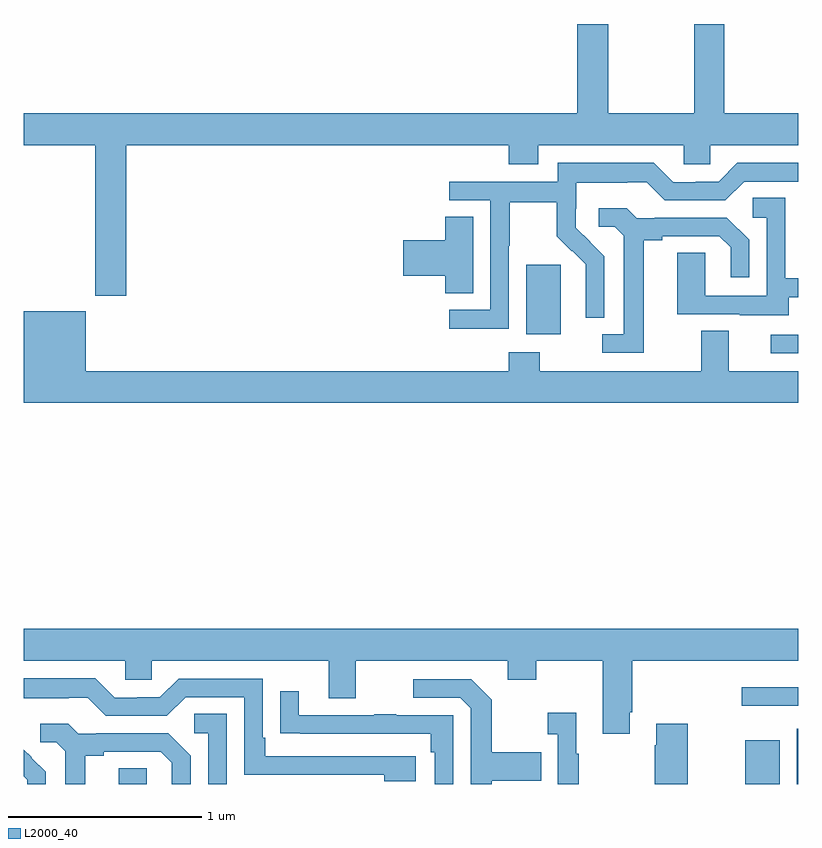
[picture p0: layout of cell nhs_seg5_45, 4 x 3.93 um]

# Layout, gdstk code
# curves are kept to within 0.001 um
import gdstk
lib = gdstk.Library(unit=1e-6, precision=1e-09)
def R(c, l, rs):  # rectangles x0, y0, x1, y1
    for r in rs: c.add(gdstk.rectangle(r[:2], r[2:], *l))
def P(c, l, *ps):  # polygons
    for p in ps: c.add(gdstk.Polygon(p, *l))
L2000_40 = (2000, 40)

nhs_seg5_45 = lib.new_cell('nhs_seg5_45')
R(nhs_seg5_45, L2000_40, [(113.489,846.799,113.634,846.881), (116.726,846.799,116.905,847.024), (116.993,846.799,117,847.084), (116.709,847.203,117,847.3), (116.859,849.024,117,849.12), (115.595,849.122,115.774,849.483)])
P(nhs_seg5_45, L2000_40, [(113.528,850.1),(115.505,850.1),(115.505,850.001),(115.657,850.001),(115.657,850.1),(116.409,850.1),(116.409,850.002),(116.547,850.002),(116.547,850.1),(117,850.1),(117,850.264),(116.619,850.264),(116.619,850.726),(116.464,850.726),(116.464,850.264),(116.019,850.264),(116.019,850.726),(115.859,850.726),(115.859,850.264),(113,850.264),(113,850.1),(113.368,850.1),(113.368,849.321),(113.528,849.321)],
  [(115.506,849.58),(115.509,849.58),(115.509,849.804),(115.753,849.804),(115.753,849.629),(115.83,849.552),(115.833,849.555),(115.904,849.485),(115.904,849.362),(115.902,849.362),(115.902,849.208),(115.998,849.208),(115.998,849.526),(115.852,849.674),(115.852,849.771),(115.854,849.771),(115.854,849.905),(116.117,849.905),(116.117,849.909),(116.217,849.909),(116.31,849.816),(116.625,849.816),(116.721,849.912),(117,849.912),(117,850.008),(116.685,850.008),(116.589,849.912),(116.471,849.912),(116.471,849.909),(116.355,849.909),(116.255,850.009),(115.758,850.009),(115.758,849.912),(115.197,849.912),(115.197,849.816),(115.41,849.816),(115.41,849.249),(115.197,849.249),(115.197,849.151),(115.506,849.151)],
  [(116.953,849.315),(117,849.315),(117,849.411),(116.934,849.411),(116.934,849.827),(116.766,849.827),(116.766,849.726),(116.838,849.726),(116.838,849.321),(116.52,849.321),(116.52,849.545),(116.375,849.545),(116.375,849.225),(116.699,849.225),(116.699,849.221),(116.953,849.221)],
  [(116.203,849.608),(116.299,849.608),(116.299,849.63),(116.594,849.63),(116.651,849.573),(116.651,849.417),(116.748,849.417),(116.748,849.61),(116.632,849.726),(116.26,849.726),(116.26,849.723),(116.166,849.723),(116.114,849.775),(115.971,849.775),(115.971,849.678),(116.052,849.678),(116.099,849.631),(116.099,849.123),(115.989,849.123),(115.989,849.027),(116.203,849.027)],
  [(115.321,849.731),(115.178,849.731),(115.178,849.608),(114.96,849.608),(114.96,849.425),(115.178,849.425),(115.178,849.334),(115.321,849.334)],
  [(117,848.932),(116.641,848.932),(116.641,849.14),(116.501,849.14),(116.501,848.932),(115.665,848.932),(115.665,849.031),(115.505,849.031),(115.505,848.932),(113.32,848.932),(113.32,849.241),(113,849.241),(113,848.768),(117,848.768)],
  [(116.131,847.171),(116.144,847.171),(116.144,847.436),(117,847.436),(117,847.6),(113,847.6),(113,847.436),(113.523,847.436),(113.523,847.338),(113.661,847.338),(113.661,847.436),(114.575,847.436),(114.575,847.242),(114.715,847.242),(114.715,847.436),(115.499,847.436),(115.499,847.337),(115.647,847.337),(115.647,847.436),(115.991,847.436),(115.991,847.059),(116.131,847.059)],
  [(115.024,846.942),(114.247,846.942),(114.247,847.039),(114.234,847.039),(114.234,847.344),(113.799,847.344),(113.703,847.248),(113.585,847.248),(113.585,847.245),(113.469,847.245),(113.369,847.345),(113,847.345),(113,847.241),(113.231,847.241),(113.231,847.245),(113.331,847.245),(113.424,847.152),(113.739,847.152),(113.835,847.248),(114.138,847.248),(114.138,846.846),(114.863,846.846),(114.863,846.812),(115.024,846.812)],
  [(115.417,846.815),(115.673,846.815),(115.673,846.963),(115.417,846.963),(115.417,847.235),(115.311,847.341),(115.011,847.341),(115.011,847.245),(115.254,847.245),(115.308,847.191),(115.308,846.799),(115.417,846.799)],
  [(115.218,847.155),(114.923,847.155),(114.923,847.16),(114.811,847.16),(114.811,847.155),(114.421,847.155),(114.421,847.279),(114.325,847.279),(114.325,847.06),(114.427,847.06),(114.427,847.059),(115.102,847.059),(115.102,846.962),(115.122,846.962),(115.122,846.799),(115.218,846.799)],
  [(115.867,846.955),(115.855,846.955),(115.855,847.168),(115.707,847.168),(115.707,847.055),(115.758,847.055),(115.758,846.799),(115.867,846.799)],
  [(114.048,847.163),(113.88,847.163),(113.88,847.062),(113.952,847.062),(113.952,846.799),(114.048,846.799)],
  [(116.43,847.111),(116.267,847.111),(116.267,846.998),(116.26,846.998),(116.26,846.799),(116.43,846.799)],
  [(113.317,846.944),(113.413,846.944),(113.413,846.966),(113.708,846.966),(113.765,846.909),(113.765,846.799),(113.862,846.799),(113.862,846.946),(113.746,847.062),(113.374,847.062),(113.374,847.059),(113.28,847.059),(113.228,847.111),(113.085,847.111),(113.085,847.014),(113.166,847.014),(113.213,846.967),(113.213,846.799),(113.317,846.799)],
  [(113.112,846.862),(113.039,846.935),(113.04,846.936),(113,846.976),(113,846.839),(113.018,846.821),(113.018,846.799),(113.112,846.799)])

lib.write_gds('nhs_seg5_45.gds')
